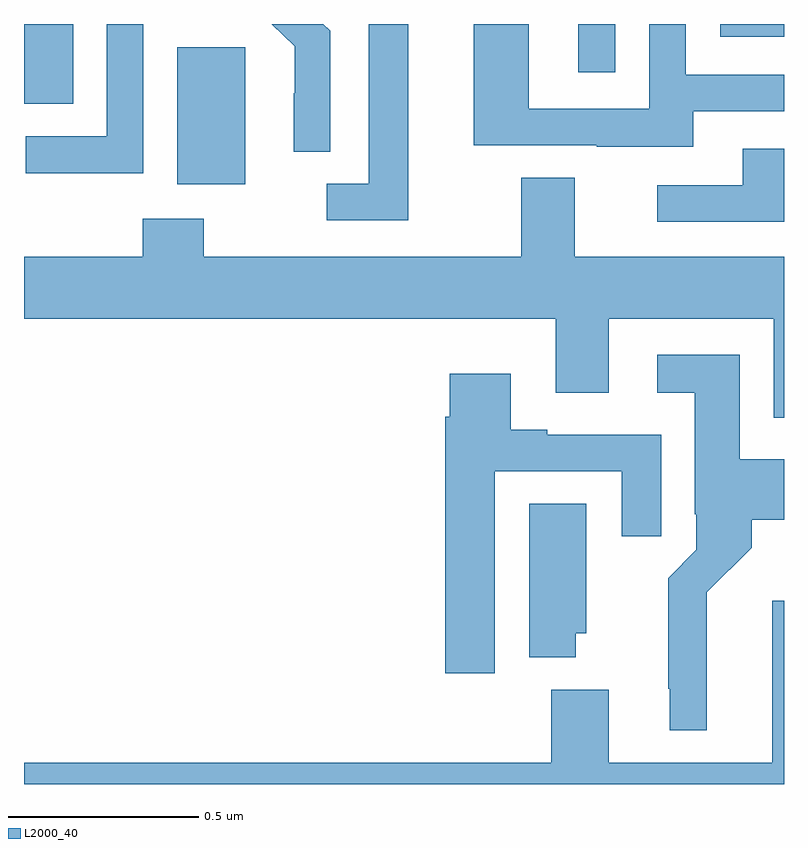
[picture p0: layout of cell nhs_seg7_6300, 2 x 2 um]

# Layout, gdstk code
import gdstk
lib = gdstk.Library(unit=1e-6, precision=1e-09)
def R(c, l, rs):  # rectangles x0, y0, x1, y1
    for r in rs: c.add(gdstk.rectangle(r[:2], r[2:], *l))
def P(c, l, *ps):  # polygons
    for p in ps: c.add(gdstk.Polygon(p, *l))
L2000_40 = (2000, 40)

nhs_seg7_6300 = lib.new_cell('nhs_seg7_6300')
R(nhs_seg7_6300, L2000_40, [(196.403,1059.578,196.582,1059.939), (196,1059.79,196.129,1060), (197.459,1059.873,197.556,1060), (197.832,1059.966,198,1060)])
P(nhs_seg7_6300, L2000_40, [(197.761,1059.771),(198,1059.771),(198,1059.867),(197.742,1059.867),(197.742,1060),(197.646,1060),(197.646,1059.777),(197.328,1059.777),(197.328,1060),(197.183,1060),(197.183,1059.681),(197.507,1059.681),(197.507,1059.677),(197.761,1059.677)],
  [(197.011,1060),(196.907,1060),(196.907,1059.579),(196.797,1059.579),(196.797,1059.483),(197.011,1059.483)],
  [(196.806,1059.982),(196.788,1060),(196.652,1060),(196.712,1059.941),(196.712,1059.818),(196.71,1059.818),(196.71,1059.664),(196.806,1059.664)],
  [(196.314,1060),(196.218,1060),(196.218,1059.705),(196.005,1059.705),(196.005,1059.607),(196.314,1059.607)],
  [(198,1059.672),(197.891,1059.672),(197.891,1059.576),(197.667,1059.576),(197.667,1059.48),(198,1059.48)],
  [(198,1059.388),(197.449,1059.388),(197.449,1059.596),(197.309,1059.596),(197.309,1059.388),(196.473,1059.388),(196.473,1059.487),(196.313,1059.487),(196.313,1059.388),(196,1059.388),(196,1059.224),(197.399,1059.224),(197.399,1059.03),(197.539,1059.03),(197.539,1059.224),(197.973,1059.224),(197.973,1058.964),(198,1058.964)],
  [(197.797,1058.504),(197.915,1058.622),(197.915,1058.696),(198,1058.696),(198,1058.854),(197.884,1058.854),(197.884,1059.13),(197.667,1059.13),(197.667,1059.029),(197.765,1059.029),(197.765,1058.71),(197.769,1058.71),(197.769,1058.616),(197.695,1058.542),(197.695,1058.251),(197.699,1058.251),(197.699,1058.141),(197.797,1058.141)],
  [(197.239,1058.823),(197.573,1058.823),(197.573,1058.652),(197.677,1058.652),(197.677,1058.919),(197.377,1058.919),(197.377,1058.932),(197.281,1058.932),(197.281,1059.079),(197.12,1059.079),(197.12,1058.966),(197.108,1058.966),(197.108,1058.292),(197.239,1058.292)],
  [(197.452,1058.397),(197.479,1058.397),(197.479,1058.738),(197.33,1058.738),(197.33,1058.333),(197.452,1058.333)],
  [(198,1058.482),(197.969,1058.482),(197.969,1058.056),(197.539,1058.056),(197.539,1058.248),(197.387,1058.248),(197.387,1058.056),(196,1058.056),(196,1058),(198,1058)])

lib.write_gds('nhs_seg7_6300.gds')
